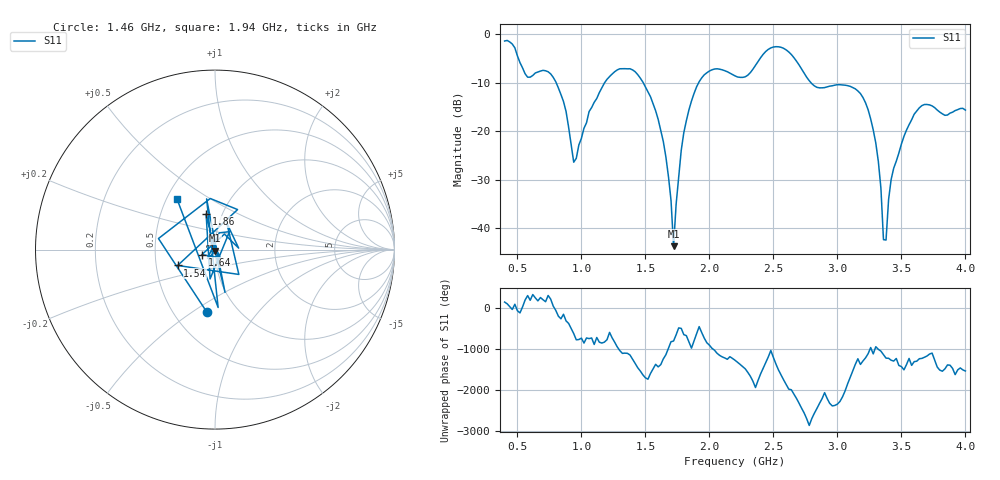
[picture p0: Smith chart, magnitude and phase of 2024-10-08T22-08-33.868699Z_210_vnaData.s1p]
! Created with skrf (http://scikit-rf.org).
# Hz S RI R 50.0
!freq ReS11 ImS11
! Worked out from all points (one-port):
!   181 points, 400 MHz to 4 GHz, reference 50 ohm
!   lowest |S11| = -43.7 dB at 1.72 GHz (marker M1), VSWR 1.01, Z = 50.1 - j0.649 ohm
!   |S11| at or under -10 dB: 802.6 MHz to 1.182 GHz (379.2 MHz wide, 38.2 % of centre); 1.483 GHz to 1.916 GHz (433.9 MHz wide, 25.5 % of centre); 2.793 GHz to end of sweep
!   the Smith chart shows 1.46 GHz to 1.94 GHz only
!   S11 on the Smith chart (normalised r, x): 1.46 GHz: 0.72, -0.58; 1.54 GHz: 0.65, -0.12; 1.64 GHz: 0.86, -0.05; 1.86 GHz: 0.84, +0.35; 1.94 GHz: 0.56, +0.37
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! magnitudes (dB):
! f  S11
! 400 MHz  -1.4
! 580 MHz  -8.9
! 760 MHz  -8.2
! 860 MHz  -13.9
! 940 MHz  -26.4
! 1.06 GHz  -16.0
! 1.3 GHz  -7.1
! 1.46 GHz  -9.1
! 1.54 GHz  -12.9
! 1.64 GHz  -22.1
! 1.7 GHz  -34.2
! 1.72 GHz  -43.7
! 1.76 GHz  -29.4
! 1.86 GHz  -13.8
! 1.94 GHz  -9.0
! 2.2 GHz  -8.6
! 2.5 GHz  -2.7
! 2.66 GHz  -4.9
! 2.84 GHz  -11.0
! 3.1 GHz  -10.8
! 3.28 GHz  -19.7
! 3.34 GHz  -31.7
! 3.36 GHz  -42.3
! 3.38 GHz  -42.4
! 3.42 GHz  -29.9
! 3.56 GHz  -18.7
! 3.68 GHz  -14.5
! 4 GHz  -15.7
